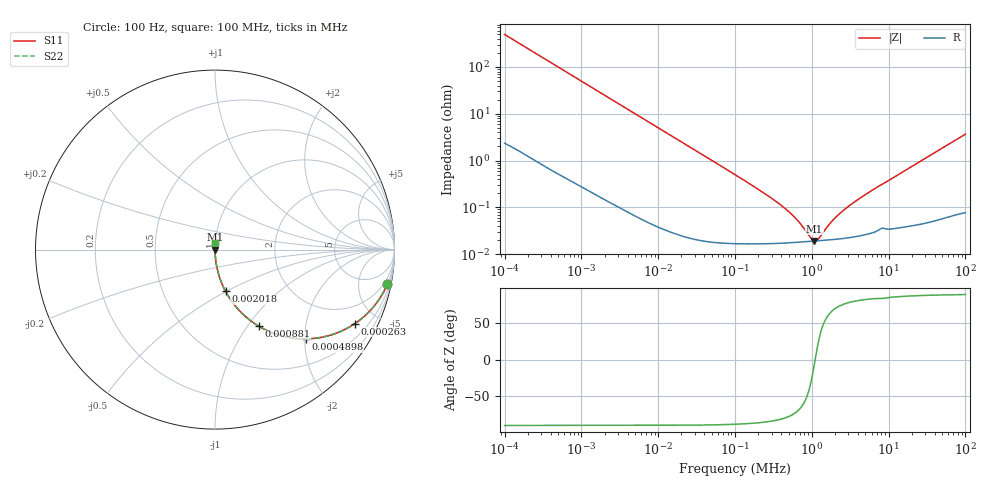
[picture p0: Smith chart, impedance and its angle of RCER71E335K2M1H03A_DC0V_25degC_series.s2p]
!Murata Part Number: RCER71E335K2M1H03A
!These Parameters are Measured in Series Mode Connection
!  o--ll--o
!Port1  Port2
!  o------o
!Operation Temp=25[degC], DC Bias Voltage=0[V]
!Freq. Start=100[Hz] Stop=100[MHz], 401[Steps]
!Data Generated on Jun 22, 2023
# Hz S RI R 50
!Freq.(Hz) S11(Real) S11(Imag) S21(Real) S21(Imag) S12(Real) S12(Imag) S22(Real) S22(Imag)
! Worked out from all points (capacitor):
!   401 points, 100 Hz to 100 MHz, reference 50 ohm
!   read as one part in series: C = 3.21 uF near 107.2 Hz
!   lowest |Z| = 19.1 mohm at 1.084 MHz (marker M1)
!   series resonance near 1.106 MHz, so ESL is about 6.4 nH
!   S11 on the Smith chart (normalised r, x): 100 Hz: 1.05, -9.90; 263 Hz: 1.02, -3.78; 489.8 Hz: 1.01, -2.03; 881 Hz: 1.01, -1.13; 2.018 kHz: 1.00, -0.50; 100 MHz: 1.00, +0.07
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100  0.9599 -0.1938  0.0401 0.1938  0.0401 0.1938  0.9599 -0.1938
167.8804  0.8959 -0.3029  0.1041 0.3029  0.1041 0.3029  0.8959 -0.3029
263.0268  0.7797 -0.4119  0.2203 0.4119  0.2203 0.4119  0.7797 -0.4119
371.5352  0.6409 -0.4772  0.3591 0.4772  0.3591 0.4772  0.6409 -0.4772
489.7788  0.5078 -0.4974  0.4922 0.4974  0.4922 0.4974  0.5078 -0.4974
881.0489  0.2437 -0.4266  0.7563 0.4266  0.7563 0.4266  0.2437 -0.4266
1011.579  0.1969 -0.3949  0.8031 0.3949  0.8031 0.3949  0.1969 -0.3949
2018.366  0.059 -0.2327  0.941 0.2327  0.941 0.2327  0.059 -0.2327
4168.694  0.015 -0.1183  0.985 0.1183  0.985 0.1183  0.015 -0.1183
10232.93  0.00277 -0.049  0.9972 0.049  0.9972 0.049  0.00277 -0.049
100000  0.000192 -0.005  0.9998 0.005  0.9998 0.005  0.000192 -0.005
254097.3  0.00017 -0.00187  0.9998 0.00187  0.9998 0.00187  0.00017 -0.00187
457088.2  0.000174 -0.000905  0.9998 0.000905  0.9998 0.000905  0.000174 -0.000905
668343.9  0.00018 -0.000471  0.9998 0.000471  0.9998 0.000471  0.00018 -0.000471
1011579  0.000189 -7.95e-05  0.9998 7.95e-05  0.9998 7.95e-05  0.000189 -7.95e-05
1083927  0.000191 -1.79e-05  0.9998 1.79e-05  0.9998 1.79e-05  0.000191 -1.79e-05
1244515  0.000194 0.000105  0.9998 -0.000105  0.9998 -0.000105  0.000194 0.000105
1819701  0.000204 0.000457  0.9998 -0.000457  0.9998 -0.000457  0.000204 0.000457
2660725  0.000218 0.000871  0.9998 -0.000871  0.9998 -0.000871  0.000218 0.000871
4786301  0.00026 0.00177  0.9997 -0.00177  0.9997 -0.00177  0.00026 0.00177
1.023293e7  0.000357 0.00382  0.9996 -0.00382  0.9996 -0.00382  0.000357 0.00382
1e8  0.0021 0.0365  0.9979 -0.0365  0.9979 -0.0365  0.0021 0.0365
